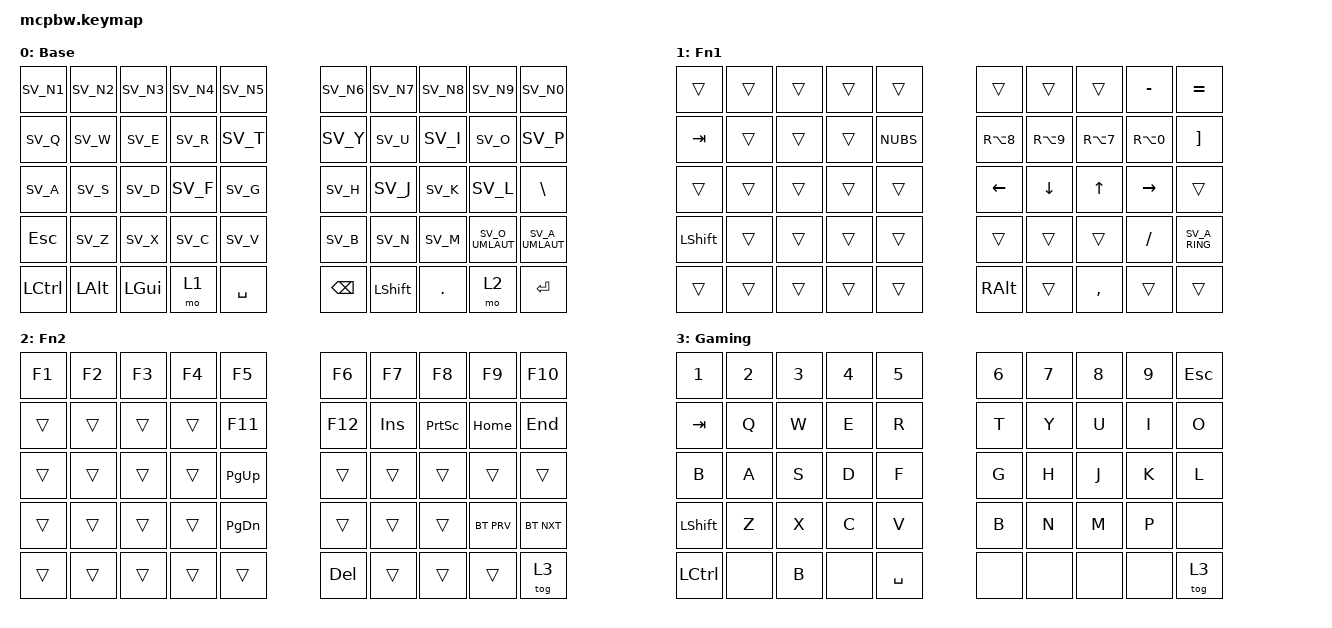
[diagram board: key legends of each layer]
#include <behaviors.dtsi>
#include <dt-bindings/zmk/keys.h>
#include <dt-bindings/zmk/bt.h>
#include "keys_sv.h"

#define DEFAULT 0
#define LOWER 1
#define UPPER 2
#define GAMING 3

/ {
    combos {
      compatible = "zmk,combos";
      combo_btclear {
        timeout-ms = <50>;
        key-positions = <38 39>;
        layers = <2>;
        bindings = <&bt BT_CLR>;
      };
    };

    keymap {
        compatible = "zmk,keymap";

        default_layer {
          display-name = "Base";

          bindings = <
            &kp SV_N1    &kp SV_N2    &kp SV_N3   &kp SV_N4 &kp SV_N5     &kp SV_N6    &kp SV_N7    &kp SV_N8  &kp SV_N9           &kp SV_N0
            &kp SV_Q     &kp SV_W     &kp SV_E    &kp SV_R  &kp SV_T      &kp SV_Y     &kp SV_U     &kp SV_I   &kp SV_O            &kp SV_P
            &kp SV_A     &kp SV_S     &kp SV_D    &kp SV_F  &kp SV_G      &kp SV_H     &kp SV_J     &kp SV_K   &kp SV_L            &kp BSLH
            &kp ESC      &kp SV_Z     &kp SV_X    &kp SV_C  &kp SV_V      &kp SV_B     &kp SV_N     &kp SV_M   &kp SV_O_UMLAUT     &kp SV_A_UMLAUT
            &kp LCTRL    &kp LALT     &kp LGUI    &mo 1     &kp SPACE     &kp BSPC     &kp LSHFT    &kp DOT    &mo 2               &kp RET
          >;
        };
    
        lower_layer {
          display-name = "Fn1";

          bindings = <
            &trans    &trans    &trans    &trans    &trans    &trans        &trans        &trans        &kp MINUS     &kp EQL
            &kp TAB   &trans    &trans    &trans    &kp NUBS  &kp RA(N8)    &kp RA(N9)    &kp RA(N7)    &kp RA(N0)    &kp RBKT
            &trans    &trans    &trans    &trans    &trans    &kp LEFT      &kp DOWN      &kp UP        &kp RIGHT     &trans
            &kp LSHFT &trans    &trans    &trans    &trans    &trans        &trans        &trans        &kp SLASH     &kp SV_A_RING
            &trans    &trans    &trans    &trans    &trans    &kp RALT      &trans        &kp COMMA     &trans        &trans
          >;
        };
        upper_layer {
          display-name = "Fn2";

          bindings = <
            &kp F1    &kp F2    &kp F3    &kp F4    &kp F5    &kp F6    &kp F7    &kp F8    &kp F9      &kp F10
            &trans    &trans    &trans    &trans    &kp F11   &kp F12   &kp INS   &kp PSCRN &kp HOME    &kp END
            &trans    &trans    &trans    &trans    &kp PG_UP &trans    &trans    &trans    &trans      &trans
            &trans    &trans    &trans    &trans    &kp PG_DN &trans    &trans    &trans    &bt BT_PRV  &bt BT_NXT
            &trans    &trans    &trans    &trans    &trans    &kp DEL   &trans    &trans    &trans      &tog 3
          >;
        };
        gaming_layer {
          display-name = "Gaming";

          bindings = <
            &kp N1    &kp N2    &kp N3    &kp N4    &kp N5    &kp N6    &kp N7    &kp N8    &kp N9    &kp ESC
            &kp TAB   &kp Q     &kp W     &kp E     &kp R     &kp T     &kp Y     &kp U     &kp I     &kp O
            &kp B     &kp A     &kp S     &kp D     &kp F     &kp G     &kp H     &kp J     &kp K     &kp L
            &kp LSHFT &kp Z     &kp X     &kp C     &kp V     &kp B     &kp N     &kp M     &kp P     &none
            &kp LCTRL &none     &kp B     &none     &kp SPACE &none     &none     &none     &none     &tog 3
          >;
        };
    };
};
